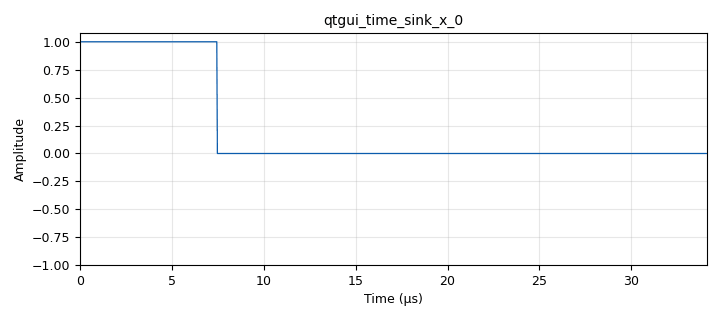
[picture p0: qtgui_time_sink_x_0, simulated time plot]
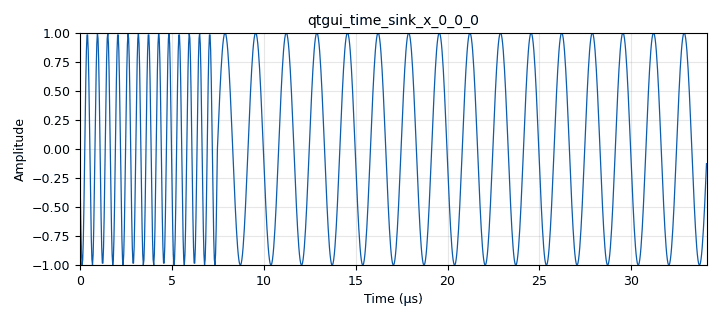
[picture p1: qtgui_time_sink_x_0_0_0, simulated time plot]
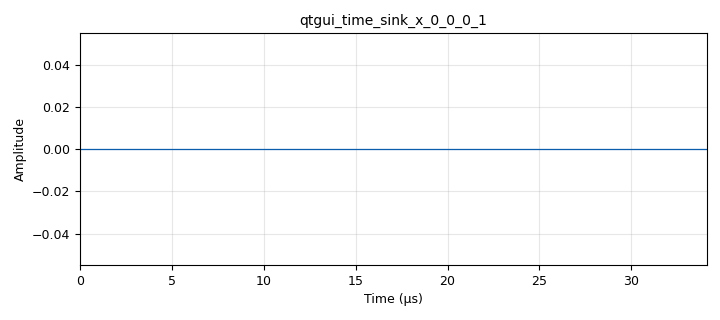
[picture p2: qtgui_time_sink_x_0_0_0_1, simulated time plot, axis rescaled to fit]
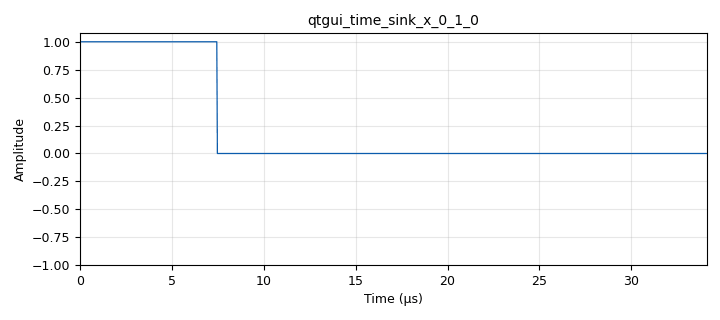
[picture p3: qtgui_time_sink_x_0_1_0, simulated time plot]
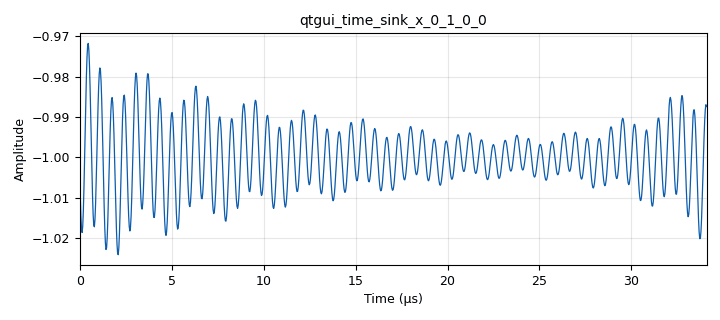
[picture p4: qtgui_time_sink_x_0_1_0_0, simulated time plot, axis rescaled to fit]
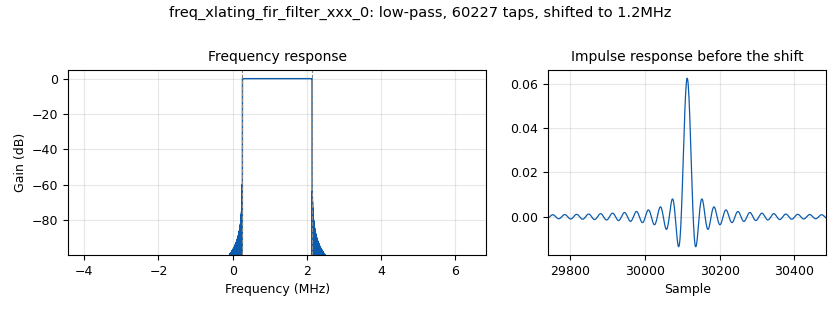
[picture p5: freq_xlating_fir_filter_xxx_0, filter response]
options:
  parameters:
    generate_options: qt_gui
    id: fsk2
    output_language: python
    title: Not titled yet
  states: {}

blocks:
- name: center_freq
  id: variable
  parameters:
    value: 1.2e6
  states: {}
- name: fsk_deviation
  id: variable
  parameters:
    value: 600e3
  states: {}
- name: ndl_sp
  id: variable
  parameters:
    value: 2e3
  states: {}
- name: noise_amp
  id: variable_qtgui_range
  parameters:
    label: noise amplitude
    start: '0'
    step: '0.01'
    stop: '1'
    value: '0'
  states: {}
- name: samp_rate
  id: variable
  parameters:
    value: 3e7
  states: {}
- name: analog_const_source_x_0_0
  id: analog_const_source_x
  parameters:
    const: '1'
    type: float
  states: {}
- name: analog_noise_source_x_0
  id: analog_noise_source_x
  parameters:
    amp: noise_amp
    noise_type: analog.GR_GAUSSIAN
    seed: '0'
    type: float
  states: {}
- name: analog_quadrature_demod_cf_1
  id: analog_quadrature_demod_cf
  parameters:
    gain: samp_rate/(2*math.pi*fsk_deviation)
  states: {}
- name: analog_random_source_x_1_0
  id: analog_random_source_x
  parameters:
    max: '2'
    min: '0'
    num_samps: '1000'
    repeat: 'True'
    type: int
  states: {}
- name: analog_sig_source_x_0
  id: analog_sig_source_x
  parameters:
    amp: '1'
    freq: center_freq+fsk_deviation
    offset: '0'
    phase: '0'
    samp_rate: samp_rate
    type: float
    waveform: analog.GR_SIN_WAVE
  states: {}
- name: analog_sig_source_x_0_0
  id: analog_sig_source_x
  parameters:
    amp: '1'
    freq: center_freq-fsk_deviation
    offset: '0'
    phase: '0'
    samp_rate: samp_rate
    type: float
    waveform: analog.GR_SIN_WAVE
  states: {}
- name: blocks_add_const_vxx_0
  id: blocks_add_const_vxx
  parameters:
    const: '0'
    type: float
  states: {}
- name: blocks_add_xx_0
  id: blocks_add_xx
  parameters:
    type: float
  states: {}
- name: blocks_add_xx_1
  id: blocks_add_xx
  parameters:
    type: float
  states: {}
- name: blocks_file_sink_0
  id: blocks_file_sink
  parameters:
    file: /home/bunny/Projects/BTP work/final_data.txt
    type: float
  states: {state: disabled}
- name: blocks_multiply_xx_0
  id: blocks_multiply_xx
  parameters:
    type: float
  states: {}
- name: blocks_multiply_xx_0_0
  id: blocks_multiply_xx
  parameters:
    type: float
  states: {}
- name: blocks_repeat_1
  id: blocks_repeat
  parameters:
    interp: '300'
    type: float
  states: {}
- name: blocks_sub_xx_0
  id: blocks_sub_xx
  parameters:
    type: float
  states: {}
- name: blocks_sub_xx_1
  id: blocks_sub_xx
  parameters:
    type: float
  states: {}
- name: blocks_throttle_0
  id: blocks_throttle
  parameters:
    samples_per_second: samp_rate
    type: float
  states: {}
- name: blocks_uchar_to_float_1
  id: blocks_uchar_to_float
  parameters: {}
  states: {}
- name: digital_binary_slicer_fb_0
  id: digital_binary_slicer_fb
  parameters: {}
  states: {}
- name: digital_chunks_to_symbols_xx_0_0
  id: digital_chunks_to_symbols_xx
  parameters:
    dimension: '2'
    in_type: int
    out_type: float
    symbol_table: '[0,1]'
  states: {}
- name: freq_xlating_fir_filter_xxx_0
  id: freq_xlating_fir_filter_xxx
  parameters:
    center_freq: center_freq
    decim: '1'
    samp_rate: samp_rate
    taps: firdes.low_pass(1.0,samp_rate,samp_rate/(2*16),1200)
    type: fcf
  states: {}
- name: qtgui_time_sink_x_0
  id: qtgui_time_sink_x
  parameters:
    size: '1024'
    srate: samp_rate
    type: float
  states: {}
- name: qtgui_time_sink_x_0_0
  id: qtgui_time_sink_x
  parameters:
    size: '1024'
    srate: samp_rate
    type: float
  states: {state: disabled}
- name: qtgui_time_sink_x_0_0_0
  id: qtgui_time_sink_x
  parameters:
    size: '1024'
    srate: samp_rate
    type: float
  states: {}
- name: qtgui_time_sink_x_0_0_0_0
  id: qtgui_time_sink_x
  parameters:
    size: '1024'
    srate: samp_rate
    type: float
  states: {state: disabled}
- name: qtgui_time_sink_x_0_0_0_1
  id: qtgui_time_sink_x
  parameters:
    size: '1024'
    srate: samp_rate
    type: float
  states: {}
- name: qtgui_time_sink_x_0_1_0
  id: qtgui_time_sink_x
  parameters:
    size: '1024'
    srate: samp_rate
    type: float
  states: {}
- name: qtgui_time_sink_x_0_1_0_0
  id: qtgui_time_sink_x
  parameters:
    size: '1024'
    srate: samp_rate
    type: float
  states: {}

connections:
- [analog_const_source_x_0_0, '0', blocks_sub_xx_0, '0']
- [analog_noise_source_x_0, '0', blocks_add_xx_1, '1']
- [analog_quadrature_demod_cf_1, '0', digital_binary_slicer_fb_0, '0']
- [analog_quadrature_demod_cf_1, '0', qtgui_time_sink_x_0_1_0_0, '0']
- [analog_random_source_x_1_0, '0', digital_chunks_to_symbols_xx_0_0, '0']
- [analog_sig_source_x_0, '0', blocks_multiply_xx_0, '0']
- [analog_sig_source_x_0_0, '0', blocks_multiply_xx_0_0, '1']
- [blocks_add_const_vxx_0, '0', qtgui_time_sink_x_0, '0']
- [blocks_add_xx_0, '0', blocks_add_xx_1, '0']
- [blocks_add_xx_1, '0', freq_xlating_fir_filter_xxx_0, '0']
- [blocks_add_xx_1, '0', qtgui_time_sink_x_0_0_0, '0']
- [blocks_multiply_xx_0, '0', blocks_add_xx_0, '0']
- [blocks_multiply_xx_0, '0', qtgui_time_sink_x_0_0, '0']
- [blocks_multiply_xx_0_0, '0', blocks_add_xx_0, '1']
- [blocks_multiply_xx_0_0, '0', qtgui_time_sink_x_0_0_0_0, '0']
- [blocks_repeat_1, '0', blocks_add_const_vxx_0, '0']
- [blocks_repeat_1, '0', blocks_multiply_xx_0, '1']
- [blocks_repeat_1, '0', blocks_sub_xx_0, '1']
- [blocks_repeat_1, '0', blocks_sub_xx_1, '0']
- [blocks_sub_xx_0, '0', blocks_multiply_xx_0_0, '0']
- [blocks_sub_xx_1, '0', blocks_file_sink_0, '0']
- [blocks_sub_xx_1, '0', qtgui_time_sink_x_0_1_0, '0']
- [blocks_throttle_0, '0', blocks_sub_xx_1, '1']
- [blocks_throttle_0, '0', qtgui_time_sink_x_0_0_0_1, '0']
- [blocks_uchar_to_float_1, '0', blocks_throttle_0, '0']
- [digital_binary_slicer_fb_0, '0', blocks_uchar_to_float_1, '0']
- [digital_chunks_to_symbols_xx_0_0, '0', blocks_repeat_1, '0']
- [freq_xlating_fir_filter_xxx_0, '0', analog_quadrature_demod_cf_1, '0']

metadata:
  file_format: 1
  grc_version: 3.10.7.0
